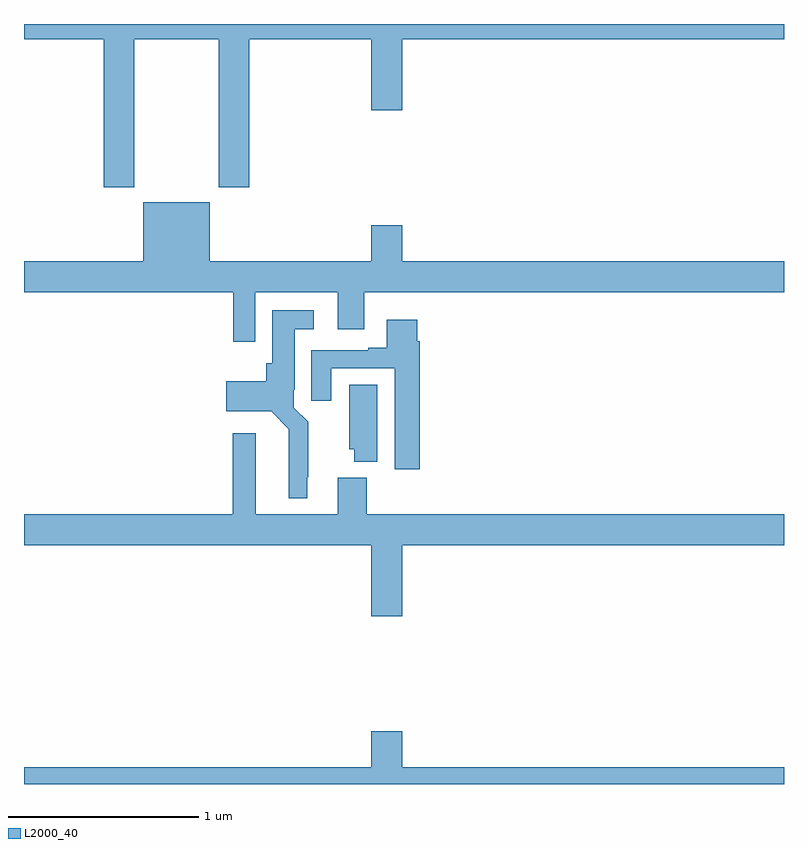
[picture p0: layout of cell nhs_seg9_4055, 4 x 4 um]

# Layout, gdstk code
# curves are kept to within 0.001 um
import gdstk
lib = gdstk.Library(unit=1e-6, precision=1e-09)
def P(c, l, *ps):  # polygons
    for p in ps: c.add(gdstk.Polygon(p, *l))
L2000_40 = (2000, 40)

nhs_seg9_4055 = lib.new_cell('nhs_seg9_4055')
P(nhs_seg9_4055, L2000_40, [(343.581,1196.42),(344.026,1196.42),(344.026,1195.641),(344.186,1195.641),(344.186,1196.42),(344.828,1196.42),(344.828,1196.046),(344.992,1196.046),(344.992,1196.42),(347,1196.42),(347,1196.5),(343,1196.5),(343,1196.42),(343.421,1196.42),(343.421,1195.641),(343.581,1195.641)],
  [(344.217,1195.088),(344.651,1195.088),(344.651,1194.894),(344.791,1194.894),(344.791,1195.088),(347,1195.088),(347,1195.252),(344.992,1195.252),(344.992,1195.441),(344.828,1195.441),(344.828,1195.252),(343.978,1195.252),(343.978,1195.561),(343.628,1195.561),(343.628,1195.252),(343,1195.252),(343,1195.088),(344.101,1195.088),(344.101,1194.828),(344.217,1194.828)],
  [(344.491,1194.115),(344.495,1194.115),(344.495,1194.406),(344.421,1194.48),(344.421,1194.574),(344.425,1194.574),(344.425,1194.893),(344.524,1194.893),(344.524,1194.994),(344.306,1194.994),(344.306,1194.714),(344.276,1194.714),(344.276,1194.619),(344.064,1194.619),(344.064,1194.461),(344.301,1194.461),(344.394,1194.368),(344.393,1194.005),(344.491,1194.005)],
  [(345.083,1194.83),(345.07,1194.83),(345.07,1194.943),(344.909,1194.943),(344.909,1194.796),(344.813,1194.796),(344.813,1194.783),(344.513,1194.783),(344.513,1194.516),(344.617,1194.516),(344.617,1194.687),(344.951,1194.687),(344.951,1194.156),(345.083,1194.156)],
  [(344.86,1194.602),(344.711,1194.602),(344.711,1194.261),(344.738,1194.261),(344.738,1194.197),(344.86,1194.197)],
  [(344.992,1193.756),(347,1193.756),(347,1193.92),(344.804,1193.92),(344.804,1194.112),(344.651,1194.112),(344.651,1193.92),(344.221,1193.92),(344.221,1194.346),(344.099,1194.346),(344.099,1193.92),(343,1193.92),(343,1193.756),(344.828,1193.756),(344.828,1193.382),(344.992,1193.382)],
  [(344.828,1192.777),(344.828,1192.588),(343,1192.588),(343,1192.5),(347,1192.5),(347,1192.588),(344.992,1192.588),(344.992,1192.777)])

lib.write_gds('nhs_seg9_4055.gds')
